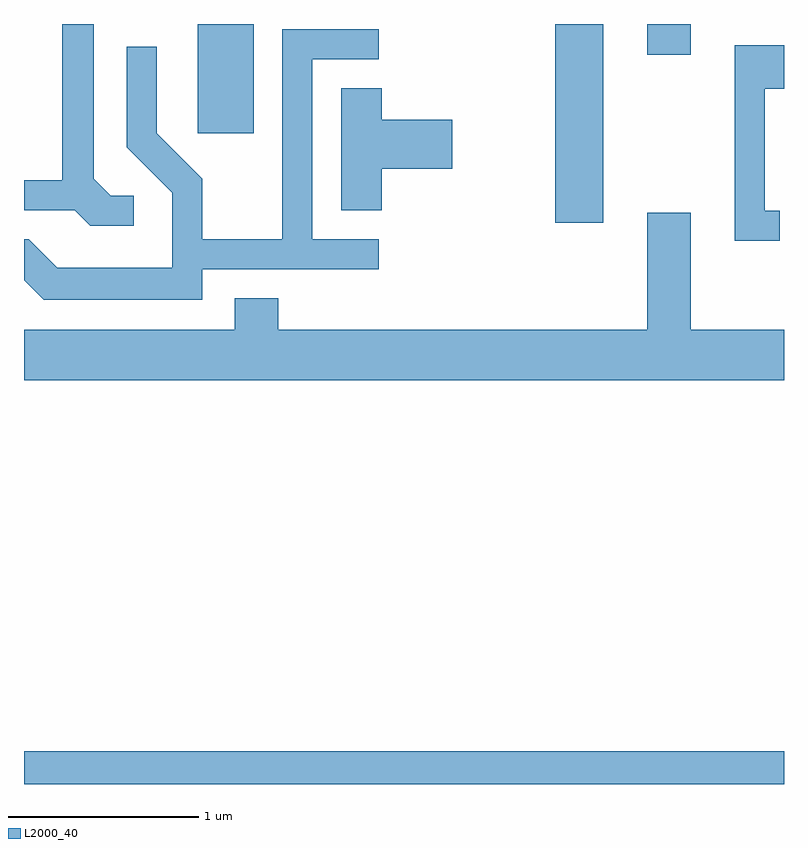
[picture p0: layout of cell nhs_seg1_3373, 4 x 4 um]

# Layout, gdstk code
import gdstk
lib = gdstk.Library(unit=1e-6, precision=1e-09)
def R(c, l, rs):  # rectangles x0, y0, x1, y1
    for r in rs: c.add(gdstk.rectangle(r[:2], r[2:], *l))
def P(c, l, *ps):  # polygons
    for p in ps: c.add(gdstk.Polygon(p, *l))
L2000_40 = (2000, 40)

nhs_seg1_3373 = lib.new_cell('nhs_seg1_3373')
R(nhs_seg1_3373, L2000_40, [(287.611,859.712,291.611,859.884), (290.406,862.666,290.659,863.712), (288.526,863.136,288.819,863.712), (290.891,863.551,291.119,863.712)])
P(nhs_seg1_3373, L2000_40, [(288.188,862.809),(288.067,862.809),(287.979,862.897),(287.979,863.712),(287.811,863.712),(287.811,862.889),(287.611,862.889),(287.611,862.731),(287.879,862.731),(287.959,862.651),(288.188,862.651)],
  [(288.549,862.421),(289.478,862.421),(289.478,862.579),(289.129,862.579),(289.129,863.526),(289.478,863.526),(289.478,863.684),(288.971,863.684),(288.971,862.579),(288.549,862.579),(288.549,862.897),(288.309,863.137),(288.309,863.593),(288.151,863.593),(288.151,863.064),(288.391,862.824),(288.391,862.429),(287.787,862.429),(287.637,862.579),(287.611,862.579),(287.611,862.364),(287.714,862.261),(288.549,862.261)],
  [(291.588,862.729),(291.509,862.729),(291.509,863.371),(291.611,863.371),(291.611,863.599),(291.351,863.599),(291.351,862.571),(291.588,862.571)],
  [(289.494,862.951),(289.864,862.951),(289.864,863.209),(289.494,863.209),(289.494,863.374),(289.281,863.374),(289.281,862.731),(289.494,862.731)],
  [(291.611,862.104),(291.119,862.104),(291.119,862.719),(290.891,862.719),(290.891,862.104),(288.949,862.104),(288.949,862.269),(288.721,862.269),(288.721,862.104),(287.611,862.104),(287.611,861.836),(291.611,861.836)])

lib.write_gds('nhs_seg1_3373.gds')
